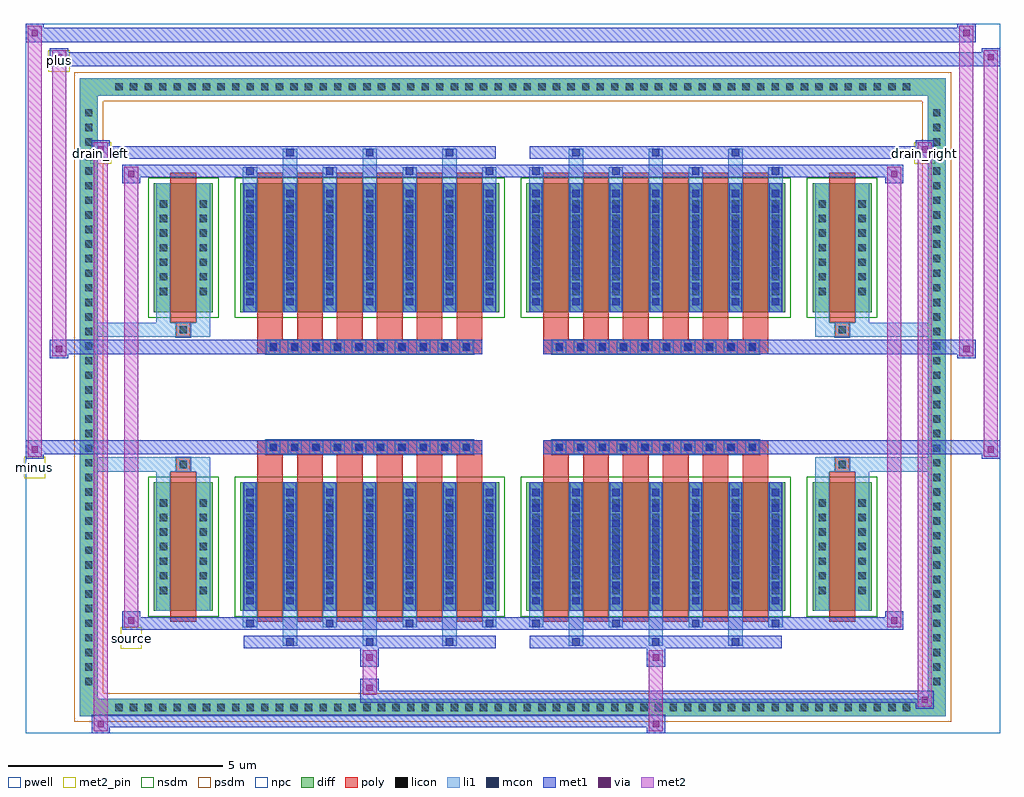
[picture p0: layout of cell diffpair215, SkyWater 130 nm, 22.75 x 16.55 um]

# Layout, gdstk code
import gdstk
lib = gdstk.Library(unit=1e-6, precision=5e-09)
def R(c, l, rs):  # rectangles x0, y0, x1, y1
    for r in rs: c.add(gdstk.rectangle(r[:2], r[2:], *l))
def A(c, l, x, y, w, h, nx, ny, dx, dy):  # array of equal rectangles
    R(c, l, [(x+i*dx, y+j*dy, x+i*dx+w, y+j*dy+h) for i in range(nx) for j in range(ny)])
def P(c, l, *ps):  # polygons
    for p in ps: c.add(gdstk.Polygon(p, *l))
pwell = (64, 44)
diff = (65, 20)
poly = (66, 20)
licon = (66, 44)
li1 = (67, 20)
mcon = (67, 44)
met1 = (68, 20)
via = (68, 44)
met2_pin = (69, 16)
met2 = (69, 20)
nsdm = (93, 44)
psdm = (94, 20)
npc = (95, 20)

diffpair215 = lib.new_cell('diffpair215')
R(diffpair215, pwell, [(-11.36,-7.84,11.36,8.71), (-8.68,-6.03,-0.01,-0.805), (0.01,-6.03,8.68,-0.805), (-8.68,0.805,-0.01,6.03), (0.01,0.805,8.68,6.03)])
A(diffpair215, diff, -9.385, -7.44, 0.41, 0.41, 55, 2, 0.34, 14.47)
A(diffpair215, diff, -10.09, -6.835, 0.41, 0.41, 1, 40, 0, 0.34)
A(diffpair215, diff, 9.68, -6.835, 0.41, 0.41, 1, 40, 0, 0.34)
R(diffpair215, diff, [(-9.385,-7.44,9.385,-7.03), (-10.09,-6.835,-9.68,6.835), (9.68,-6.835,10.09,6.835), (-8.37,-4.985,-6.99,-1.985), (-6.35,-4.985,-0.32,-1.985), (0.32,-4.985,6.35,-1.985), (6.99,-4.985,8.37,-1.985), (-8.37,1.985,-6.99,4.985), (-6.35,1.985,-0.32,4.985), (0.32,1.985,6.35,4.985), (6.99,1.985,8.37,4.985), (-9.385,7.03,9.385,7.44)])
P(diffpair215, diff, [(10.09,7.44),(-10.09,7.44),(-10.09,-7.03),(-9.68,-7.03),(-9.68,7.03),(9.68,7.03),(9.68,-7.03),(-9.68,-7.03),(-10.09,-7.03),(-10.09,-7.44),(10.09,-7.44)])
A(diffpair215, poly, -5.96, -5.235, 0.6, 3.5, 6, 2, 0.93, 6.97)
A(diffpair215, poly, 0.71, -5.235, 0.6, 3.5, 6, 2, 0.93, 6.97)
A(diffpair215, poly, -5.96, -1.735, 0.6, 0.4, 6, 2, 0.93, 3.07)
A(diffpair215, poly, 0.71, -1.735, 0.6, 0.4, 6, 2, 0.93, 3.07)
A(diffpair215, poly, -5.75, -1.335, 0.33, 0.33, 10, 2, 0.5, 2.34)
A(diffpair215, poly, 0.92, -1.335, 0.33, 0.33, 10, 2, 0.5, 2.34)
R(diffpair215, poly, [(-7.98,-5.235,-7.38,-1.735), (7.38,-5.235,7.98,-1.735), (-7.845,-1.735,-7.515,-1.405), (-7.845,-1.735,-7.515,-1.405), (7.515,-1.735,7.845,-1.405), (7.515,-1.735,7.845,-1.405), (-5.96,-1.335,-0.71,-1.005), (0.71,-1.335,5.96,-1.005), (-5.96,1.005,-0.71,1.335), (0.71,1.005,5.96,1.335), (-7.845,1.405,-7.515,1.735), (-7.845,1.405,-7.515,1.735), (7.515,1.405,7.845,1.735), (7.515,1.405,7.845,1.735), (-7.98,1.735,-7.38,5.235), (7.38,1.735,7.98,5.235)])
A(diffpair215, licon, -9.265, -7.32, 0.17, 0.17, 55, 2, 0.34, 14.47)
A(diffpair215, licon, -9.97, -6.715, 0.17, 0.17, 1, 40, 0, 0.34)
A(diffpair215, licon, 9.8, -6.715, 0.17, 0.17, 1, 40, 0, 0.34)
A(diffpair215, licon, -8.23, -4.59, 0.17, 0.17, 1, 7, 0, 0.34)
A(diffpair215, licon, -7.3, -4.59, 0.17, 0.17, 1, 7, 0, 0.34)
A(diffpair215, licon, -6.21, -4.59, 0.17, 0.17, 7, 7, 0.93, 0.34)
A(diffpair215, licon, 0.46, -4.59, 0.17, 0.17, 7, 7, 0.93, 0.34)
A(diffpair215, licon, 7.13, -4.59, 0.17, 0.17, 1, 7, 0, 0.34)
A(diffpair215, licon, 8.06, -4.59, 0.17, 0.17, 1, 7, 0, 0.34)
A(diffpair215, licon, -5.67, -1.255, 0.17, 0.17, 10, 2, 0.5, 2.34)
A(diffpair215, licon, 1, -1.255, 0.17, 0.17, 10, 2, 0.5, 2.34)
A(diffpair215, licon, -8.23, 2.38, 0.17, 0.17, 1, 7, 0, 0.34)
A(diffpair215, licon, -7.3, 2.38, 0.17, 0.17, 1, 7, 0, 0.34)
A(diffpair215, licon, -6.21, 2.38, 0.17, 0.17, 7, 7, 0.93, 0.34)
A(diffpair215, licon, 0.46, 2.38, 0.17, 0.17, 7, 7, 0.93, 0.34)
A(diffpair215, licon, 7.13, 2.38, 0.17, 0.17, 1, 7, 0, 0.34)
A(diffpair215, licon, 8.06, 2.38, 0.17, 0.17, 1, 7, 0, 0.34)
R(diffpair215, licon, [(-7.765,-1.655,-7.595,-1.485), (7.595,-1.655,7.765,-1.485), (-7.765,1.485,-7.595,1.655), (7.595,1.485,7.765,1.655)])
A(diffpair215, li1, -9.345, -7.4, 0.33, 0.33, 55, 2, 0.34, 14.47)
A(diffpair215, li1, -10.05, -6.795, 0.33, 0.33, 1, 40, 0, 0.34)
A(diffpair215, li1, 9.72, -6.795, 0.33, 0.33, 1, 40, 0, 0.34)
A(diffpair215, li1, -5.36, -5.79, 0.33, 0.805, 3, 2, 1.86, 10.775)
A(diffpair215, li1, -5.28, -5.79, 0.17, 0.17, 3, 2, 1.86, 11.41)
A(diffpair215, li1, 1.31, -5.79, 0.33, 0.805, 3, 2, 1.86, 10.775)
A(diffpair215, li1, 1.39, -5.79, 0.17, 0.17, 3, 2, 1.86, 11.41)
A(diffpair215, li1, -6.29, -5.36, 0.33, 0.375, 4, 2, 1.86, 10.345)
A(diffpair215, li1, -6.21, -5.36, 0.17, 0.17, 4, 2, 1.86, 10.55)
A(diffpair215, li1, 0.38, -5.36, 0.33, 0.375, 4, 2, 1.86, 10.345)
A(diffpair215, li1, 0.46, -5.36, 0.17, 0.17, 4, 2, 1.86, 10.55)
A(diffpair215, li1, -6.29, -4.985, 0.33, 3, 7, 2, 0.93, 6.97)
A(diffpair215, li1, 0.38, -4.985, 0.33, 3, 7, 2, 0.93, 6.97)
A(diffpair215, li1, -6.21, -4.83, 0.17, 0.17, 7, 8, 0.93, 0.36)
A(diffpair215, li1, -6.21, -4.83, 0.17, 2.69, 7, 2, 0.93, 6.97)
A(diffpair215, li1, 0.46, -4.83, 0.17, 0.17, 7, 8, 0.93, 0.36)
A(diffpair215, li1, 0.46, -4.83, 0.17, 2.69, 7, 2, 0.93, 6.97)
A(diffpair215, li1, -8.31, -4.67, 0.33, 0.33, 1, 7, 0, 0.34)
A(diffpair215, li1, -7.38, -4.67, 0.33, 0.33, 1, 7, 0, 0.34)
A(diffpair215, li1, -6.29, -4.67, 0.33, 0.33, 7, 7, 0.93, 0.34)
A(diffpair215, li1, 0.38, -4.67, 0.33, 0.33, 7, 7, 0.93, 0.34)
A(diffpair215, li1, 7.05, -4.67, 0.33, 0.33, 1, 7, 0, 0.34)
A(diffpair215, li1, 7.98, -4.67, 0.33, 0.33, 1, 7, 0, 0.34)
A(diffpair215, li1, -5.75, -1.335, 0.33, 0.33, 10, 2, 0.5, 2.34)
A(diffpair215, li1, 0.92, -1.335, 0.33, 0.33, 10, 2, 0.5, 2.34)
A(diffpair215, li1, -6.21, 2.14, 0.17, 0.17, 7, 8, 0.93, 0.36)
A(diffpair215, li1, 0.46, 2.14, 0.17, 0.17, 7, 8, 0.93, 0.36)
A(diffpair215, li1, -8.31, 2.3, 0.33, 0.33, 1, 7, 0, 0.34)
A(diffpair215, li1, -7.38, 2.3, 0.33, 0.33, 1, 7, 0, 0.34)
A(diffpair215, li1, -6.29, 2.3, 0.33, 0.33, 7, 7, 0.93, 0.34)
A(diffpair215, li1, 0.38, 2.3, 0.33, 0.33, 7, 7, 0.93, 0.34)
A(diffpair215, li1, 7.05, 2.3, 0.33, 0.33, 1, 7, 0, 0.34)
A(diffpair215, li1, 7.98, 2.3, 0.33, 0.33, 1, 7, 0, 0.34)
R(diffpair215, li1, [(-10.09,-7.44,-9.68,-7.03), (-10.09,-7.44,-9.68,-7.03), (-9.68,-7.44,9.68,-7.03), (9.68,-7.44,10.09,-7.03), (9.68,-7.44,10.09,-7.03), (-10.09,-7.03,-9.68,7.03), (9.68,-7.03,10.09,7.03), (-8.31,-4.985,-7.98,-1.985), (-7.38,-4.985,-7.05,-1.985), (7.05,-4.985,7.38,-1.985), (7.98,-4.985,8.31,-1.985), (-8.31,-1.985,-7.98,-1.405), (-7.38,-1.985,-7.05,-1.405), (7.05,-1.985,7.38,-1.405), (7.98,-1.985,8.31,-1.405), (-10.09,-1.735,-7.845,-1.405), (-8.31,-1.735,-7.845,-1.405), (-7.845,-1.735,-7.515,-1.405), (-7.515,-1.735,-7.05,-1.405), (7.05,-1.735,7.515,-1.405), (7.515,-1.735,7.845,-1.405), (7.515,-1.735,10.09,-1.405), (7.845,-1.735,8.31,-1.405), (-10.09,1.405,-7.845,1.735), (-8.31,1.405,-7.845,1.735), (-8.31,1.405,-7.98,1.985), (-7.845,1.405,-7.515,1.735), (-7.515,1.405,-7.05,1.735), (-7.38,1.405,-7.05,1.985), (7.05,1.405,7.515,1.735), (7.05,1.405,7.38,1.985), (7.515,1.405,7.845,1.735), (7.515,1.405,10.09,1.735), (7.845,1.405,8.31,1.735), (7.98,1.405,8.31,1.985), (-8.31,1.985,-7.98,4.985), (-7.38,1.985,-7.05,4.985), (7.05,1.985,7.38,4.985), (7.98,1.985,8.31,4.985), (-10.09,7.03,-9.68,7.44), (-10.09,7.03,-9.68,7.44), (-9.68,7.03,9.68,7.44), (9.68,7.03,10.09,7.44), (9.68,7.03,10.09,7.44)])
A(diffpair215, mcon, -5.28, -5.79, 0.17, 0.17, 3, 2, 1.86, 11.41)
A(diffpair215, mcon, 1.39, -5.79, 0.17, 0.17, 3, 2, 1.86, 11.41)
A(diffpair215, mcon, -6.21, -5.36, 0.17, 0.17, 4, 2, 1.86, 10.55)
A(diffpair215, mcon, 0.46, -5.36, 0.17, 0.17, 4, 2, 1.86, 10.55)
A(diffpair215, mcon, -6.21, -4.83, 0.17, 0.17, 7, 8, 0.93, 0.36)
A(diffpair215, mcon, 0.46, -4.83, 0.17, 0.17, 7, 8, 0.93, 0.36)
A(diffpair215, mcon, -5.67, -1.255, 0.17, 0.17, 10, 2, 0.5, 2.34)
A(diffpair215, mcon, 1, -1.255, 0.17, 0.17, 10, 2, 0.5, 2.34)
A(diffpair215, mcon, -6.21, 2.14, 0.17, 0.17, 7, 8, 0.93, 0.36)
A(diffpair215, mcon, 0.46, 2.14, 0.17, 0.17, 7, 8, 0.93, 0.36)
A(diffpair215, met1, -5.34, -5.85, 0.29, 0.29, 3, 2, 1.86, 11.41)
A(diffpair215, met1, 1.33, -5.85, 0.29, 0.29, 3, 2, 1.86, 11.41)
A(diffpair215, met1, -6.27, -5.42, 0.29, 0.29, 4, 2, 1.86, 10.55)
A(diffpair215, met1, 0.4, -5.42, 0.29, 0.29, 4, 2, 1.86, 10.55)
A(diffpair215, met1, -6.27, -4.985, 0.29, 3, 7, 2, 0.93, 6.97)
A(diffpair215, met1, 0.4, -4.985, 0.29, 3, 7, 2, 0.93, 6.97)
A(diffpair215, met1, -6.27, -4.89, 0.29, 0.29, 7, 8, 0.93, 0.36)
A(diffpair215, met1, 0.4, -4.89, 0.29, 0.29, 7, 8, 0.93, 0.36)
A(diffpair215, met1, -5.73, -1.315, 0.29, 0.29, 10, 2, 0.5, 2.34)
A(diffpair215, met1, 0.94, -1.315, 0.29, 0.29, 10, 2, 0.5, 2.34)
A(diffpair215, met1, -6.27, 2.08, 0.29, 0.29, 7, 8, 0.93, 0.36)
A(diffpair215, met1, 0.4, 2.08, 0.29, 0.29, 7, 8, 0.93, 0.36)
R(diffpair215, met1, [(-9.82,-7.84,-9.39,-7.41), (3.12,-7.84,3.55,-7.41), (-9.82,-7.7,3.55,-7.41), (9.39,-7.27,9.82,-6.84), (-3.55,-7.13,9.82,-6.84), (-3.55,-6.99,-3.12,-6.56), (-3.55,-6.28,-3.12,-5.85), (3.12,-6.28,3.55,-5.85), (-6.27,-5.85,-0.4,-5.56), (0.4,-5.85,6.27,-5.56), (-9.11,-5.42,-8.68,-4.99), (-9.11,-5.42,-6.27,-5.13), (-6.27,-5.42,-0.4,-5.13), (-0.4,-5.42,0.4,-5.13), (0.4,-5.42,6.27,-5.13), (6.27,-5.42,9.11,-5.13), (8.68,-5.42,9.11,-4.99), (-11.36,-1.435,-10.93,-1.005), (10.93,-1.435,11.36,-1.005), (-11.36,-1.335,-0.71,-1.005), (-5.96,-1.335,-0.71,-1.005), (0.71,-1.335,5.96,-1.005), (0.71,-1.335,11.36,-1.005), (-10.79,0.905,-10.36,1.335), (10.36,0.905,10.79,1.335), (-10.79,1.005,-5.96,1.335), (-5.96,1.005,-0.71,1.335), (0.71,1.005,5.96,1.335), (5.96,1.005,10.79,1.335), (-9.11,4.99,-8.68,5.42), (8.68,4.99,9.11,5.42), (-9.11,5.13,-6.27,5.42), (-6.27,5.13,-0.4,5.42), (-0.4,5.13,0.4,5.42), (0.4,5.13,6.27,5.42), (6.27,5.13,9.11,5.42), (-9.82,5.56,-9.39,5.99), (-9.82,5.56,-6.27,5.85), (-6.27,5.56,-0.4,5.85), (0.4,5.56,6.27,5.85), (6.27,5.56,9.82,5.85), (9.39,5.56,9.82,5.99), (-10.79,7.71,-10.36,8.14), (-10.79,7.71,-8.68,8.04), (-8.68,7.71,8.68,8.04), (8.68,7.71,11.36,8.04), (10.93,7.71,11.36,8.14), (-11.36,8.28,-10.93,8.71), (-11.36,8.28,-8.68,8.61), (-8.68,8.28,8.68,8.61), (8.68,8.28,10.79,8.61), (10.36,8.28,10.79,8.71)])
R(diffpair215, via, [(-9.68,-7.7,-9.53,-7.55), (3.26,-7.7,3.41,-7.55), (9.53,-7.13,9.68,-6.98), (-3.41,-6.85,-3.26,-6.7), (-3.41,-6.14,-3.26,-5.99), (3.26,-6.14,3.41,-5.99), (-8.97,-5.28,-8.82,-5.13), (8.82,-5.28,8.97,-5.13), (-11.22,-1.295,-11.07,-1.145), (11.07,-1.295,11.22,-1.145), (-10.65,1.045,-10.5,1.195), (10.5,1.045,10.65,1.195), (-8.97,5.13,-8.82,5.28), (8.82,5.13,8.97,5.28), (-9.68,5.7,-9.53,5.85), (9.53,5.7,9.68,5.85), (-10.65,7.85,-10.5,8), (11.07,7.85,11.22,8), (-11.22,8.42,-11.07,8.57), (10.5,8.42,10.65,8.57)])
R(diffpair215, met2_pin, [(-9.145,-5.87,-8.645,-5.37), (-11.395,-1.885,-10.895,-1.385), (-9.855,5.44,-9.355,5.94), (9.355,5.44,9.855,5.94), (-10.825,7.59,-10.325,8.09)])
R(diffpair215, met2, [(-9.77,-7.79,-9.44,-7.46), (-9.77,-7.79,-9.44,5.94), (3.17,-7.79,3.5,-7.46), (3.17,-7.46,3.5,-6.23), (9.44,-7.22,9.77,-6.89), (9.44,-7.22,9.77,5.94), (-3.5,-6.94,-3.17,-6.61), (-3.5,-6.61,-3.17,-6.23), (-3.5,-6.23,-3.17,-5.9), (3.17,-6.23,3.5,-5.9), (-9.06,-5.37,-8.73,-5.04), (-9.06,-5.37,-8.73,5.37), (8.73,-5.37,9.06,-5.04), (8.73,-5.37,9.06,5.37), (-11.31,-1.385,-10.98,-1.055), (-11.31,-1.385,-10.98,8.66), (10.98,-1.385,11.31,-1.055), (10.98,-1.385,11.31,8.09), (-10.74,0.955,-10.41,1.285), (-10.74,0.955,-10.41,8.09), (10.41,0.955,10.74,1.285), (10.41,0.955,10.74,8.66), (-9.06,5.04,-8.73,5.37), (8.73,5.04,9.06,5.37), (-9.77,5.61,-9.44,5.94), (9.44,5.61,9.77,5.94), (-10.74,7.76,-10.41,8.09), (10.98,7.76,11.31,8.09), (-11.31,8.33,-10.98,8.66), (10.41,8.33,10.74,8.66)])
P(diffpair215, met2, [(11.31,-1.385),(11.31,-1.385),(11.31,-1.055),(11.31,-1.055)],
  [(11.31,7.76),(11.31,7.76),(11.31,8.09),(11.31,8.09)],
  [(-10.98,-1.385),(-10.98,-1.385),(-10.98,-1.055),(-10.98,-1.055)],
  [(-10.98,8.33),(-10.98,8.33),(-10.98,8.66),(-10.98,8.66)],
  [(10.74,0.955),(10.74,0.955),(10.74,1.285),(10.74,1.285)],
  [(10.74,8.33),(10.74,8.33),(10.74,8.66),(10.74,8.66)],
  [(-10.41,0.955),(-10.41,0.955),(-10.41,1.285),(-10.41,1.285)],
  [(-10.41,7.76),(-10.41,7.76),(-10.41,8.09),(-10.41,8.09)],
  [(-9.44,-7.79),(-9.44,-7.79),(-9.44,-7.46),(-9.44,-7.46)],
  [(-9.44,5.61),(-9.44,5.61),(-9.44,5.94),(-9.44,5.94)],
  [(9.77,-7.22),(9.77,-7.22),(9.77,-6.89),(9.77,-6.89)],
  [(9.77,5.61),(9.77,5.61),(9.77,5.94),(9.77,5.94)],
  [(-8.73,-5.37),(-8.73,-5.37),(-8.73,-5.04),(-8.73,-5.04)],
  [(-8.73,5.04),(-8.73,5.04),(-8.73,5.37),(-8.73,5.37)],
  [(9.06,-5.37),(9.06,-5.37),(9.06,-5.04),(9.06,-5.04)],
  [(9.06,5.04),(9.06,5.04),(9.06,5.37),(9.06,5.37)])
R(diffpair215, nsdm, [(-8.5,-5.115,-6.86,-1.855), (-6.48,-5.115,-0.19,-1.855), (0.19,-5.115,6.48,-1.855), (6.86,-5.115,8.5,-1.855), (-8.5,1.855,-6.86,5.115), (-6.48,1.855,-0.19,5.115), (0.19,1.855,6.48,5.115), (6.86,1.855,8.5,5.115)])
P(diffpair215, psdm, [(10.22,7.57),(-10.22,7.57),(-10.22,-6.9),(-9.55,-6.9),(-9.55,6.9),(9.55,6.9),(9.55,-6.9),(-9.55,-6.9),(-10.22,-6.9),(-10.22,-7.57),(10.22,-7.57)])
A(diffpair215, npc, -5.77, -1.355, 0.37, 0.37, 10, 2, 0.5, 2.34)
A(diffpair215, npc, 0.9, -1.355, 0.37, 0.37, 10, 2, 0.5, 2.34)
R(diffpair215, npc, [(-7.865,-1.755,-7.495,-1.385), (7.495,-1.755,7.865,-1.385), (-5.77,-1.355,-4.9,-0.985), (-5.77,-1.355,-4.9,-0.985), (-5.27,-1.355,-4.4,-0.985), (-5.27,-1.355,-4.4,-0.985), (-4.77,-1.355,-3.9,-0.985), (-4.77,-1.355,-3.9,-0.985), (-4.27,-1.355,-3.4,-0.985), (-4.27,-1.355,-3.4,-0.985), (-3.77,-1.355,-2.9,-0.985), (-3.77,-1.355,-2.9,-0.985), (-3.27,-1.355,-2.4,-0.985), (-3.27,-1.355,-2.4,-0.985), (-2.77,-1.355,-1.9,-0.985), (-2.77,-1.355,-1.9,-0.985), (-2.27,-1.355,-1.4,-0.985), (-2.27,-1.355,-1.4,-0.985), (-1.77,-1.355,-0.9,-0.985), (-1.77,-1.355,-0.9,-0.985), (0.9,-1.355,1.77,-0.985), (0.9,-1.355,1.77,-0.985), (1.4,-1.355,2.27,-0.985), (1.4,-1.355,2.27,-0.985), (1.9,-1.355,2.77,-0.985), (1.9,-1.355,2.77,-0.985), (2.4,-1.355,3.27,-0.985), (2.4,-1.355,3.27,-0.985), (2.9,-1.355,3.77,-0.985), (2.9,-1.355,3.77,-0.985), (3.4,-1.355,4.27,-0.985), (3.4,-1.355,4.27,-0.985), (3.9,-1.355,4.77,-0.985), (3.9,-1.355,4.77,-0.985), (4.4,-1.355,5.27,-0.985), (4.4,-1.355,5.27,-0.985), (4.9,-1.355,5.77,-0.985), (4.9,-1.355,5.77,-0.985), (-5.77,0.985,-4.9,1.355), (-5.77,0.985,-4.9,1.355), (-5.27,0.985,-4.4,1.355), (-5.27,0.985,-4.4,1.355), (-4.77,0.985,-3.9,1.355), (-4.77,0.985,-3.9,1.355), (-4.27,0.985,-3.4,1.355), (-4.27,0.985,-3.4,1.355), (-3.77,0.985,-2.9,1.355), (-3.77,0.985,-2.9,1.355), (-3.27,0.985,-2.4,1.355), (-3.27,0.985,-2.4,1.355), (-2.77,0.985,-1.9,1.355), (-2.77,0.985,-1.9,1.355), (-2.27,0.985,-1.4,1.355), (-2.27,0.985,-1.4,1.355), (-1.77,0.985,-0.9,1.355), (-1.77,0.985,-0.9,1.355), (0.9,0.985,1.77,1.355), (0.9,0.985,1.77,1.355), (1.4,0.985,2.27,1.355), (1.4,0.985,2.27,1.355), (1.9,0.985,2.77,1.355), (1.9,0.985,2.77,1.355), (2.4,0.985,3.27,1.355), (2.4,0.985,3.27,1.355), (2.9,0.985,3.77,1.355), (2.9,0.985,3.77,1.355), (3.4,0.985,4.27,1.355), (3.4,0.985,4.27,1.355), (3.9,0.985,4.77,1.355), (3.9,0.985,4.77,1.355), (4.4,0.985,5.27,1.355), (4.4,0.985,5.27,1.355), (4.9,0.985,5.77,1.355), (4.9,0.985,5.77,1.355), (-7.865,1.385,-7.495,1.755), (7.495,1.385,7.865,1.755)])
diffpair215.add(gdstk.Label('minus', (-11.145,-1.635), layer=69, texttype=5))
diffpair215.add(gdstk.Label('drain_right', (9.605,5.69), layer=69, texttype=5))
diffpair215.add(gdstk.Label('drain_left', (-9.605,5.69), layer=69, texttype=5))
diffpair215.add(gdstk.Label('source', (-8.895,-5.62), layer=69, texttype=5))
diffpair215.add(gdstk.Label('plus', (-10.575,7.84), layer=69, texttype=5))

lib.write_gds('diffpair215.gds')
